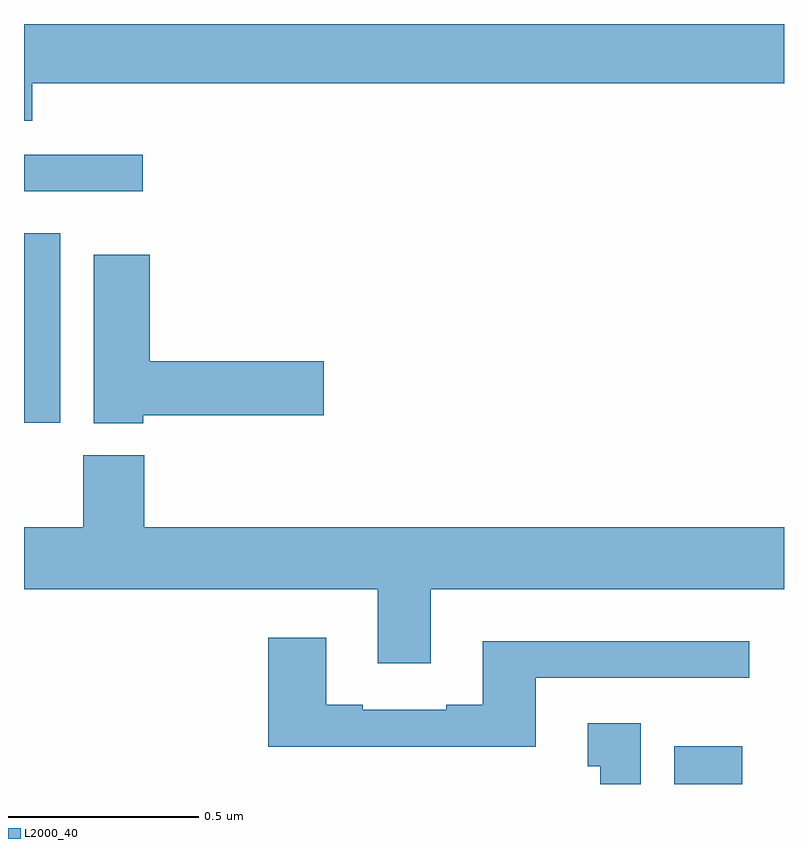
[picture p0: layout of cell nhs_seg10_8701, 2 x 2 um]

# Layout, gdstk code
import gdstk
lib = gdstk.Library(unit=1e-6, precision=1e-09)
def R(c, l, rs):  # rectangles x0, y0, x1, y1
    for r in rs: c.add(gdstk.rectangle(r[:2], r[2:], *l))
def P(c, l, *ps):  # polygons
    for p in ps: c.add(gdstk.Polygon(p, *l))
L2000_40 = (2000, 40)

nhs_seg10_8701 = lib.new_cell('nhs_seg10_8701')
R(nhs_seg10_8701, L2000_40, [(221.711,1270.5,221.89,1270.6), (220,1271.451,220.096,1271.95), (220,1272.06,220.312,1272.156)])
P(nhs_seg10_8701, L2000_40, [(220.022,1272.344),(222,1272.344),(222,1272.5),(220,1272.5),(220,1272.245),(220.022,1272.245)],
  [(220.314,1271.47),(220.789,1271.47),(220.789,1271.612),(220.331,1271.612),(220.331,1271.893),(220.184,1271.893),(220.184,1271.45),(220.314,1271.45)],
  [(221.071,1271.012),(222,1271.012),(222,1271.176),(220.316,1271.176),(220.316,1271.365),(220.156,1271.365),(220.156,1271.176),(220,1271.176),(220,1271.012),(220.931,1271.012),(220.931,1270.818),(221.071,1270.818)],
  [(221.347,1270.779),(221.908,1270.779),(221.908,1270.876),(221.207,1270.876),(221.207,1270.708),(221.111,1270.708),(221.111,1270.695),(220.891,1270.695),(220.891,1270.708),(220.795,1270.708),(220.795,1270.885),(220.643,1270.885),(220.643,1270.598),(221.347,1270.598)],
  [(221.623,1270.66),(221.483,1270.66),(221.483,1270.547),(221.516,1270.547),(221.516,1270.5),(221.623,1270.5)])

lib.write_gds('nhs_seg10_8701.gds')
